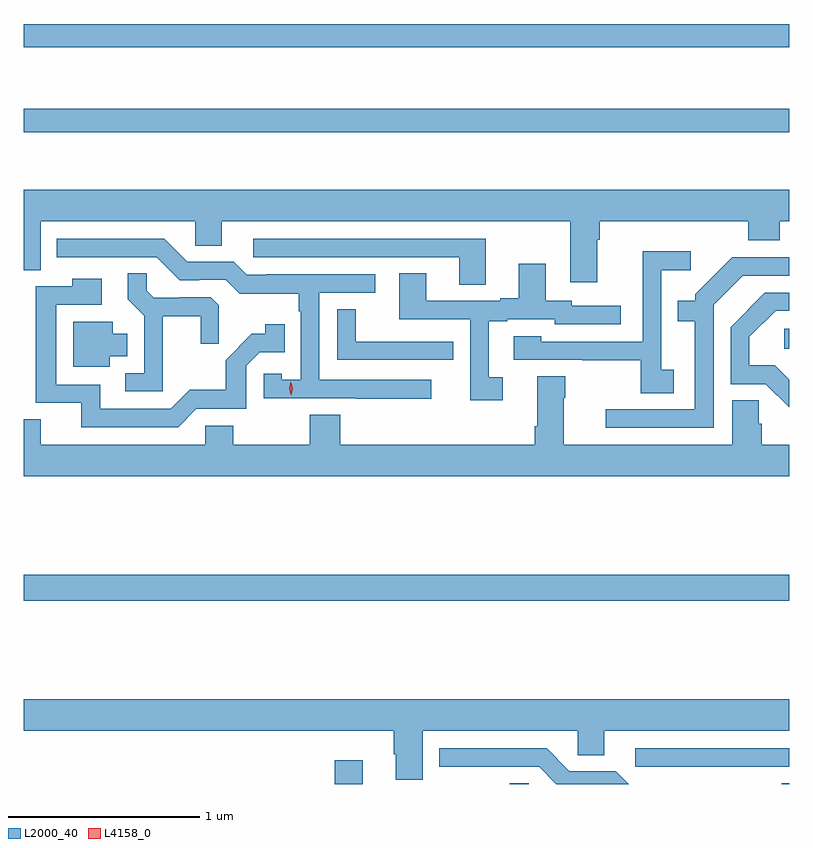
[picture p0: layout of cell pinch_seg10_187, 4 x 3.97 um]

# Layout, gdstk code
import gdstk
lib = gdstk.Library(unit=1e-6, precision=1e-09)
def R(c, l, rs):  # rectangles x0, y0, x1, y1
    for r in rs: c.add(gdstk.rectangle(r[:2], r[2:], *l))
def P(c, l, *ps):  # polygons
    for p in ps: c.add(gdstk.Polygon(p, *l))
L2000_40 = (2000, 40)
L4158_0 = (4158, 0)

pinch_seg10_187 = lib.new_cell('pinch_seg10_187')
R(pinch_seg10_187, L2000_40, [(744.548,1265.406,744.694,1265.53), (745.465,1265.406,745.563,1265.411), (746.885,1265.406,746.924,1265.411), (746.121,1265.496,746.924,1265.592), (742.924,1266.364,746.924,1266.5), (746.898,1267.682,746.924,1267.785), (742.924,1268.814,746.924,1268.935), (742.924,1269.258,746.924,1269.379)])
P(pinch_seg10_187, L2000_40, [(745.921,1268.252),(745.934,1268.252),(745.934,1268.348),(746.711,1268.348),(746.711,1268.249),(746.876,1268.249),(746.876,1268.348),(746.924,1268.348),(746.924,1268.512),(742.924,1268.512),(742.924,1268.092),(743.011,1268.092),(743.011,1268.348),(743.82,1268.348),(743.82,1268.221),(743.959,1268.221),(743.959,1268.348),(745.781,1268.348),(745.781,1268.028),(745.921,1268.028)],
  [(745.339,1268.256),(744.123,1268.256),(744.123,1268.16),(745.199,1268.16),(745.199,1268.017),(745.339,1268.017)],
  [(745.054,1267.518),(744.468,1267.518),(744.468,1267.974),(744.76,1267.974),(744.76,1268.07),(744.19,1268.07),(744.19,1268.067),(744.09,1268.067),(744.021,1268.136),(743.778,1268.136),(743.658,1268.256),(743.096,1268.256),(743.096,1268.16),(743.619,1268.16),(743.739,1268.04),(743.84,1268.04),(743.84,1268.043),(743.979,1268.043),(744.052,1267.97),(744.36,1267.97),(744.36,1267.877),(744.372,1267.877),(744.372,1267.519),(744.273,1267.519),(744.273,1267.551),(744.177,1267.551),(744.177,1267.422),(744.661,1267.422),(744.661,1267.42),(745.054,1267.42)],
  [(746.32,1267.572),(746.256,1267.572),(746.256,1268.093),(746.41,1268.093),(746.41,1268.191),(746.158,1268.191),(746.158,1267.952),(746.16,1267.952),(746.16,1267.719),(745.629,1267.719),(745.629,1267.747),(745.485,1267.747),(745.485,1267.623),(745.843,1267.623),(745.843,1267.621),(746.148,1267.621),(746.148,1267.45),(746.32,1267.45)],
  [(746.529,1267.911),(746.682,1268.064),(746.924,1268.064),(746.924,1268.16),(746.628,1268.16),(746.433,1267.965),(746.433,1267.933),(746.341,1267.933),(746.341,1267.824),(746.432,1267.824),(746.432,1267.365),(745.965,1267.365),(745.965,1267.269),(746.529,1267.269)],
  [(745.426,1267.533),(745.354,1267.533),(745.354,1267.824),(745.45,1267.824),(745.45,1267.836),(745.698,1267.836),(745.698,1267.809),(746.044,1267.809),(746.044,1267.905),(745.788,1267.905),(745.788,1267.932),(745.651,1267.932),(745.651,1268.125),(745.511,1268.125),(745.511,1267.945),(745.415,1267.945),(745.415,1267.932),(745.027,1267.932),(745.027,1268.075),(744.887,1268.075),(744.887,1267.836),(745.257,1267.836),(745.257,1267.413),(745.426,1267.413)],
  [(743.651,1267.85),(743.848,1267.85),(743.848,1267.707),(743.942,1267.707),(743.942,1267.909),(743.901,1267.95),(743.736,1267.95),(743.736,1267.947),(743.602,1267.947),(743.565,1267.984),(743.565,1268.075),(743.467,1268.075),(743.467,1267.939),(743.553,1267.853),(743.553,1267.554),(743.454,1267.554),(743.454,1267.458),(743.651,1267.458)],
  [(743.826,1267.368),(744.087,1267.368),(744.087,1267.593),(744.156,1267.662),(744.287,1267.662),(744.287,1267.81),(744.186,1267.81),(744.186,1267.76),(744.116,1267.76),(743.979,1267.622),(743.979,1267.467),(743.79,1267.467),(743.691,1267.368),(743.323,1267.368),(743.323,1267.494),(743.094,1267.494),(743.094,1267.911),(743.332,1267.911),(743.332,1268.047),(743.176,1268.047),(743.176,1268.007),(742.986,1268.007),(742.986,1267.398),(743.225,1267.398),(743.225,1267.272),(743.73,1267.272)],
  [(746.924,1267.519),(746.849,1267.594),(746.716,1267.594),(746.716,1267.744),(746.853,1267.881),(746.924,1267.881),(746.924,1267.974),(746.798,1267.974),(746.619,1267.795),(746.619,1267.497),(746.802,1267.497),(746.924,1267.376)],
  [(745.168,1267.718),(745.055,1267.718),(745.055,1267.719),(744.66,1267.719),(744.66,1267.889),(744.561,1267.889),(744.561,1267.623),(745.168,1267.623)],
  [(743.374,1267.643),(743.464,1267.643),(743.464,1267.759),(743.389,1267.759),(743.389,1267.822),(743.183,1267.822),(743.183,1267.586),(743.374,1267.586)],
  [(746.924,1267.18),(746.78,1267.18),(746.78,1267.29),(746.765,1267.29),(746.765,1267.412),(746.627,1267.412),(746.627,1267.18),(745.747,1267.18),(745.747,1267.424),(745.755,1267.424),(745.755,1267.537),(745.607,1267.537),(745.607,1267.276),(745.595,1267.276),(745.595,1267.18),(744.578,1267.18),(744.578,1267.337),(744.418,1267.337),(744.418,1267.18),(744.018,1267.18),(744.018,1267.278),(743.871,1267.278),(743.871,1267.18),(743.011,1267.18),(743.011,1267.313),(742.924,1267.313),(742.924,1267.016),(746.924,1267.016)],
  [(745.009,1265.684),(745.818,1265.684),(745.818,1265.557),(745.957,1265.557),(745.957,1265.684),(746.924,1265.684),(746.924,1265.848),(742.924,1265.848),(742.924,1265.684),(744.857,1265.684),(744.857,1265.562),(744.869,1265.562),(744.869,1265.428),(745.009,1265.428)],
  [(746.019,1265.472),(745.776,1265.472),(745.656,1265.592),(745.094,1265.592),(745.094,1265.496),(745.617,1265.496),(745.707,1265.406),(746.085,1265.406)])
P(pinch_seg10_187, L4158_0, [(744.321,1267.437),(744.321,1267.437),(744.31,1267.473),(744.318,1267.509),(744.318,1267.509),(744.318,1267.509),(744.33,1267.474),(744.321,1267.437)])

lib.write_gds('pinch_seg10_187.gds')
